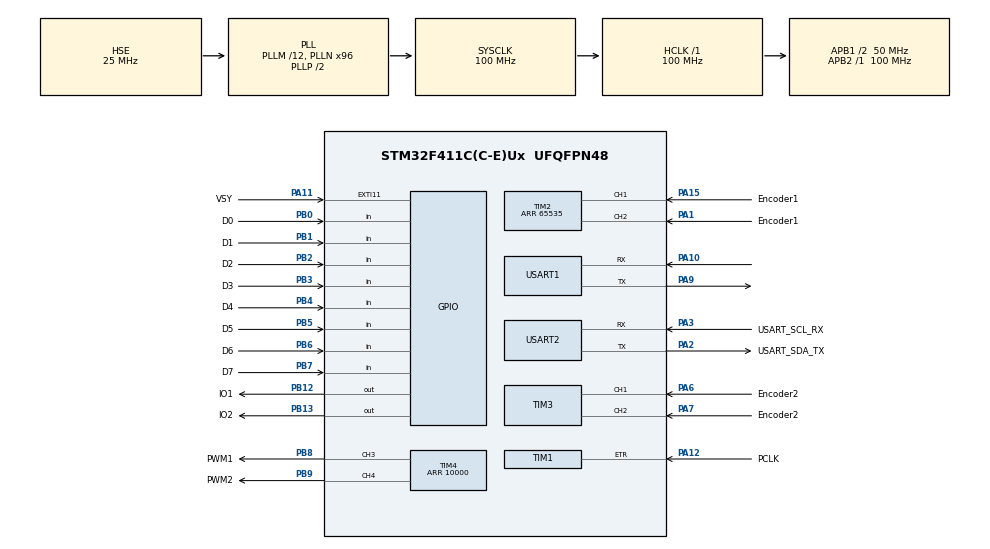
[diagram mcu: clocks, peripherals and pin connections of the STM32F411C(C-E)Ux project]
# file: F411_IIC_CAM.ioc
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Dma.Request0=TIM1_CH4/TRIG/COM
Dma.TIM1_CH4/TRIG/COM.0.Direction=DMA_PERIPH_TO_MEMORY
Dma.TIM1_CH4/TRIG/COM.0.FIFOMode=DMA_FIFOMODE_ENABLE
Dma.TIM1_CH4/TRIG/COM.0.FIFOThreshold=DMA_FIFO_THRESHOLD_FULL
Dma.TIM1_CH4/TRIG/COM.0.Instance=DMA2_Stream4
Dma.TIM1_CH4/TRIG/COM.0.MemBurst=DMA_MBURST_SINGLE
Dma.TIM1_CH4/TRIG/COM.0.MemDataAlignment=DMA_MDATAALIGN_BYTE
Dma.TIM1_CH4/TRIG/COM.0.MemInc=DMA_MINC_ENABLE
Dma.TIM1_CH4/TRIG/COM.0.Mode=DMA_NORMAL
Dma.TIM1_CH4/TRIG/COM.0.PeriphBurst=DMA_PBURST_SINGLE
Dma.TIM1_CH4/TRIG/COM.0.PeriphDataAlignment=DMA_PDATAALIGN_BYTE
Dma.TIM1_CH4/TRIG/COM.0.PeriphInc=DMA_PINC_DISABLE
Dma.TIM1_CH4/TRIG/COM.0.Priority=DMA_PRIORITY_VERY_HIGH
Mcu.Family=STM32F4
Mcu.Name=STM32F411C(C-E)Ux
Mcu.Package=UFQFPN48
NVIC.DMA2_Stream4_IRQn=true\:0\:0\:false\:false\:true\:false\:true\:true
NVIC.EXTI15_10_IRQn=true\:0\:0\:false\:false\:true\:true\:true\:true
NVIC.PriorityGroup=NVIC_PRIORITYGROUP_4
PA1.GPIO_Label=Encoder1
PA1.Signal=S_TIM2_CH2
PA10.Mode=Asynchronous
PA10.Signal=USART1_RX
PA11.GPIO_Label=VSY
PA11.GPIO_PuPd=GPIO_PULLDOWN
PA11.Signal=GPXTI11
PA12.GPIO_Label=PCLK
PA12.Signal=S_TIM1_ETR
PA13.Mode=Serial_Wire
PA13.Signal=SYS_JTMS-SWDIO
PA14.Mode=Serial_Wire
PA14.Signal=SYS_JTCK-SWCLK
PA15.GPIO_Label=Encoder1
PA15.Signal=S_TIM2_CH1_ETR
PA2.GPIO_Label=USART_SDA_TX
PA2.Mode=Asynchronous
PA2.Signal=USART2_TX
PA3.GPIO_Label=USART_SCL_RX
PA3.Mode=Asynchronous
PA3.Signal=USART2_RX
PA6.GPIO_Label=Encoder2
PA6.Signal=S_TIM3_CH1
PA7.GPIO_Label=Encoder2
PA7.Signal=S_TIM3_CH2
PA9.Mode=Asynchronous
PA9.Signal=USART1_TX
PB0.GPIO_Label=D0
PB0.Signal=GPIO_Input
PB1.GPIO_Label=D1
PB1.Signal=GPIO_Input
PB12.GPIO_Label=IO1
PB12.Signal=GPIO_Output
PB13.GPIO_Label=IO2
PB13.Signal=GPIO_Output
PB2.GPIO_Label=D2
PB2.Signal=GPIO_Input
PB3.GPIO_Label=D3
PB3.Signal=GPIO_Input
PB4.GPIO_Label=D4
PB4.Signal=GPIO_Input
PB5.GPIO_Label=D5
PB5.Signal=GPIO_Input
PB6.GPIO_Label=D6
PB6.Signal=GPIO_Input
PB7.GPIO_Label=D7
PB7.Signal=GPIO_Input
PB8.GPIO_Label=PWM1
PB8.Signal=S_TIM4_CH3
PB9.GPIO_Label=PWM2
PB9.Signal=S_TIM4_CH4
PH0\ -\ OSC_IN.Mode=HSE-External-Oscillator
PH0\ -\ OSC_IN.Signal=RCC_OSC_IN
PH1\ -\ OSC_OUT.Mode=HSE-External-Oscillator
PH1\ -\ OSC_OUT.Signal=RCC_OSC_OUT
ProjectManager.HeapSize=0x200
ProjectManager.StackSize=0x400
ProjectManager.TargetToolchain=MDK-ARM V5.32
RCC.48MHZClocksFreq_Value=50000000
RCC.AHBFreq_Value=100000000
RCC.APB1CLKDivider=RCC_HCLK_DIV2
RCC.APB1Freq_Value=50000000
RCC.APB1TimFreq_Value=100000000
RCC.APB2Freq_Value=100000000
RCC.APB2TimFreq_Value=100000000
RCC.CortexFreq_Value=100000000
RCC.HCLKFreq_Value=100000000
RCC.HSE_VALUE=25000000
RCC.HSI_VALUE=16000000
RCC.LSE_VALUE=32768
RCC.PLLM=12
RCC.PLLN=96
RCC.PLLSourceVirtual=RCC_PLLSOURCE_HSE
RCC.SYSCLKFreq_VALUE=100000000
RCC.SYSCLKSource=RCC_SYSCLKSOURCE_PLLCLK
RCC.VCOOutputFreq_Value=200000000
SH.S_TIM1_ETR.0=TIM1_ETR,TriggerSource_ETR
SH.S_TIM2_CH1_ETR.0=TIM2_CH1,Encoder_Interface
SH.S_TIM2_CH2.0=TIM2_CH2,Encoder_Interface
SH.S_TIM3_CH1.0=TIM3_CH1,Encoder_Interface
SH.S_TIM3_CH2.0=TIM3_CH2,Encoder_Interface
SH.S_TIM4_CH3.0=TIM4_CH3,PWM Generation3 CH3
SH.S_TIM4_CH4.0=TIM4_CH4,PWM Generation4 CH4
TIM1.Period=0
TIM1.Prescaler=0xffff
TIM2.Period=65535
TIM4.Channel-PWM\ Generation3\ CH3=TIM_CHANNEL_3
TIM4.Channel-PWM\ Generation4\ CH4=TIM_CHANNEL_4
TIM4.Period=10000
USART1.VirtualMode=VM_ASYNC
USART2.VirtualMode=VM_ASYNC
VP_TIM1_VS_ControllerModeTrigger.Mode=Trigger Mode
VP_TIM4_VS_ClockSourceINT.Mode=Internal
board=custom

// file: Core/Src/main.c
/* USER CODE BEGIN Header */
/**
  ******************************************************************************
  * @file           : main.c
  * @brief          : Main program body
  ******************************************************************************
  * @attention
  *
  * Copyright (c) 2023 STMicroelectronics.
  * All rights reserved.
  *
  * This software is licensed under terms that can be found in the LICENSE file
  * in the root directory of this software component.
  * If no LICENSE file comes with this software, it is provided AS-IS.
  *
  ******************************************************************************
  */
#include "stdio.h"
#include "string.h"
#include "motor.h"
#include "motor_control.h"
#include "adaptive_threshold.h"
/* USER CODE END Header */
#include "main.h"
#include "dma.h"
#include "tim.h"
#include "usart.h"
#include "gpio.h"

/* USER CODE BEGIN Includes */
#include "SEEKFREE_MT9V03X_CONFIG.h"
#include "SEEKFREE_IIC.h"
#include "SEEKFREE_MT9V03X.h"
/* USER CODE END Includes */

/* USER CODE BEGIN PTD */

int fputc(int ch, FILE *f)
{
	// 重定向
  HAL_UART_Transmit(&huart1, (uint8_t *)&ch, 1, 0xffff);
	return ch;
}

int16_t measureValLeft;
int16_t measureValRight;
uint8_t output_image[MT9V03X_W * MT9V03X_H];

void HAL_UART_PeriodElapsedCallback(TIM_HandleTypeDef *htim) {

  // 这里htim1应该是一个自定义的5ms定时器
  if (htim == &htim1) {

    // 左电机测速
    measureValLeft = (int16_t)__HAL_TIM_GET_COUNTER(&htim2);
    __HAL_TIM_SET_COUNTER(&htim2, 0);
    printf("%d %d\r\n", measureValLeft, leftMotorPID.targetVal);
    ComputePID(&leftMotorPID, measureValLeft);

    // 右电机测速
    measureValRight = (int16_t)__HAL_TIM_GET_COUNTER(&htim3);
    __HAL_TIM_SET_COUNTER(&htim3, 0);
    printf("%d %d\r\n", measureValRight, rightMotorPID.targetVal);
    ComputePID(&rightMotorPID, measureValRight);

    // PID初始化
    pidInit();
    // PID电机控制
    MotorControl();

    // 图像数据传输
    if (mt9v03x_finish_flag == 1) {
      // 边扫线边二值化处理
			mazeLineTracing(mt9v03x_image[0], output_image, MT9V03X_W, MT9V03X_H);

      // 尚不清楚是否要手动把flag置0
      // mt9v03x_finish_flag = 0;
    }
    // 加速
		motorSpeedup();
		// 追踪中线
		motorFollow(output_image);

  }

}

/* USER CODE END PTD */

void SystemClock_Config(void);

int main(void)
{

  /* MCU Configuration--------------------------------------------------------*/

  /* Reset of all peripherals, Initializes the Flash interface and the Systick. */
  HAL_Init();

  /* Configure the system clock */
  SystemClock_Config();

  /* Initialize all configured peripherals */
  MX_GPIO_Init();
  MX_DMA_Init();
  MX_TIM1_Init();
  MX_TIM2_Init();
  MX_TIM3_Init();
  MX_USART2_UART_Init();
  MX_USART1_UART_Init();
  MX_TIM4_Init();
  /* USER CODE BEGIN 2 */
  mt9v03x_init();

  // 不确定是否需要这个语句
  HAL_TIM_Base_Start(&htim1);

  HAL_TIM_Encoder_Start(&htim2, TIM_CHANNEL_ALL);
	HAL_TIM_Encoder_Start(&htim3, TIM_CHANNEL_ALL);

  HAL_TIM_PWM_Start(&htim4, TIM_CHANNEL_3);
  HAL_TIM_PWM_Start(&htim4, TIM_CHANNEL_4);

  /* USER CODE END 2 */

  /* Infinite loop */
  while (1)
  {

  }
}

void SystemClock_Config(void)
{
  RCC_OscInitTypeDef RCC_OscInitStruct = {0};
  RCC_ClkInitTypeDef RCC_ClkInitStruct = {0};

  /** Configure the main internal regulator output voltage
  */
  __HAL_RCC_PWR_CLK_ENABLE();
  __HAL_PWR_VOLTAGESCALING_CONFIG(PWR_REGULATOR_VOLTAGE_SCALE1);

  /** Initializes the RCC Oscillators according to the specified parameters
  * in the RCC_OscInitTypeDef structure.
  */
  RCC_OscInitStruct.OscillatorType = RCC_OSCILLATORTYPE_HSE;
  RCC_OscInitStruct.HSEState = RCC_HSE_ON;
  RCC_OscInitStruct.PLL.PLLState = RCC_PLL_ON;
  RCC_OscInitStruct.PLL.PLLSource = RCC_PLLSOURCE_HSE;
  RCC_OscInitStruct.PLL.PLLM = 12;
  RCC_OscInitStruct.PLL.PLLN = 96;
  RCC_OscInitStruct.PLL.PLLP = RCC_PLLP_DIV2;
  RCC_OscInitStruct.PLL.PLLQ = 4;
  if (HAL_RCC_OscConfig(&RCC_OscInitStruct) != HAL_OK)
  {
    Error_Handler();
  }

  /** Initializes the CPU, AHB and APB buses clocks
  */
  RCC_ClkInitStruct.ClockType = RCC_CLOCKTYPE_HCLK|RCC_CLOCKTYPE_SYSCLK
                              |RCC_CLOCKTYPE_PCLK1|RCC_CLOCKTYPE_PCLK2;
  RCC_ClkInitStruct.SYSCLKSource = RCC_SYSCLKSOURCE_PLLCLK;
  RCC_ClkInitStruct.AHBCLKDivider = RCC_SYSCLK_DIV1;
  RCC_ClkInitStruct.APB1CLKDivider = RCC_HCLK_DIV2;
  RCC_ClkInitStruct.APB2CLKDivider = RCC_HCLK_DIV1;

  if (HAL_RCC_ClockConfig(&RCC_ClkInitStruct, FLASH_LATENCY_3) != HAL_OK)
  {
    Error_Handler();
  }
}

void Error_Handler(void)
{
  __disable_irq();
  while (1)
  {
  }
}
